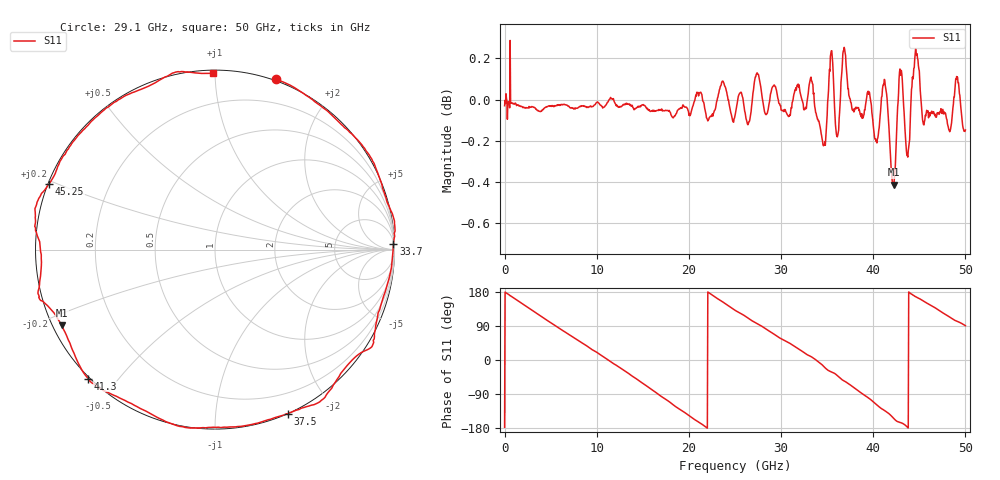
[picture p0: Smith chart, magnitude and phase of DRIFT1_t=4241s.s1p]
!Created with skrf (http://scikit-rf.org).
# Hz S RI R 50.0
!freq ReS11 ImS11
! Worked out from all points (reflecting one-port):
!   1001 points, 300 kHz to 50 GHz, reference 50 ohm
!   lowest |S11| = -0.4 dB at 42.2 GHz (marker M1), VSWR 41.99, Z = 1.26 - j11.7 ohm
!   phase of S11 starts at -177 deg and turns -812 deg over the sweep
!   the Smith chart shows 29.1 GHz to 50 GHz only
!   S11 on the Smith chart (normalised r, x): 29.1 GHz: -0.01, +1.42; 33.7 GHz: 12, +66; 37.5 GHz: -0.00, -1.54; 41.3 GHz: -0.00, -0.42; 45.25 GHz: 0.00, +0.19; 50 GHz: 0.02, +0.99
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300000  -0.9956 -0.0443
1.60029e9  -0.8929 0.4428
3.40028e9  -0.559 0.8226
6.250262e9  0.1968 0.9777
7.900253e9  0.6054 0.7899
9.550243e9  0.8909 0.4456
1.115023e10  0.9981 0.0269
1.250022e10  0.9354 -0.342
1.420021e10  0.6647 -0.7403
1.580021e10  0.2529 -0.9607
1.73002e10  -0.1872 -0.9761
1.875019e10  -0.5865 -0.8024
2.165017e10  -0.991 -0.1126
2.350016e10  -0.9205 0.4112
2.500015e10  -0.6522 0.7461
2.725014e10  -0.1421 1.003
2.910013e10  0.3397 0.9482
3.125011e10  0.7717 0.6343
3.37001e10  0.9943 0.0294
3.560009e10  0.8579 -0.5532
3.750008e10  0.4081 -0.9133
3.945006e10  -0.166 -0.9909
4.130005e10  -0.7068 -0.7188
4.220005e10  -0.8546 -0.4228
4.375004e10  -0.9679 -0.0291
4.525003e10  -0.9254 0.3648
4.770001e10  -0.5288 0.8394
5e10  -0.0112 0.983
